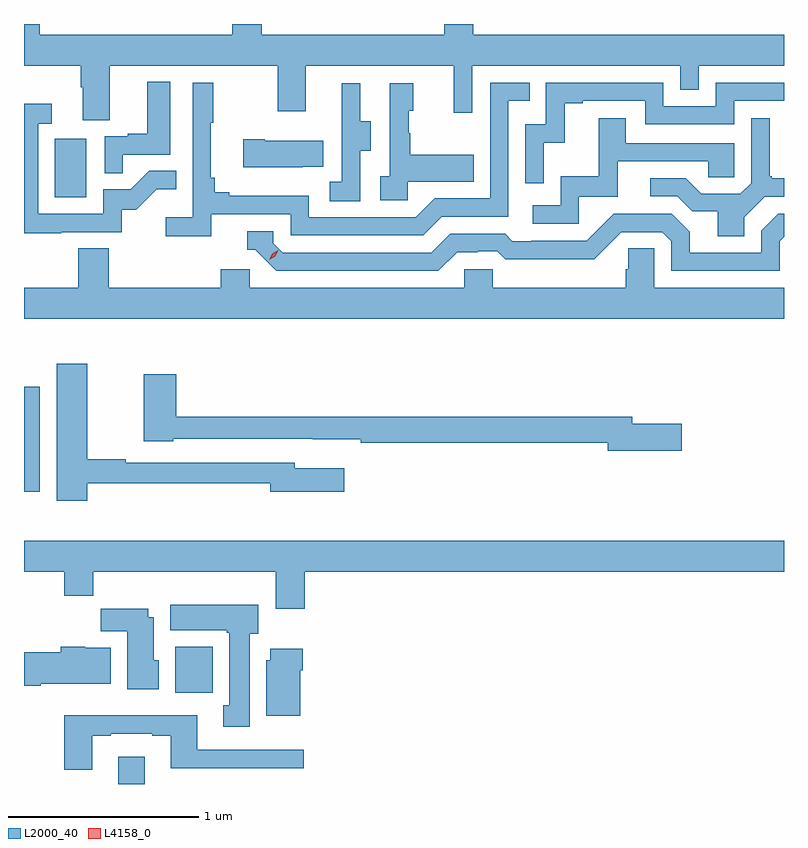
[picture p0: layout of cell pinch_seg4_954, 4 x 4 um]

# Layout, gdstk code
import gdstk
lib = gdstk.Library(unit=1e-6, precision=1e-09)
def R(c, l, rs):  # rectangles x0, y0, x1, y1
    for r in rs: c.add(gdstk.rectangle(r[:2], r[2:], *l))
def P(c, l, *ps):  # polygons
    for p in ps: c.add(gdstk.Polygon(p, *l))
L2000_40 = (2000, 40)
L4158_0 = (4158, 0)

pinch_seg4_954 = lib.new_cell('pinch_seg4_954')
R(pinch_seg4_954, L2000_40, [(837.203,770.396,837.343,770.539), (837.503,770.876,837.7,771.118), (836.707,771.934,836.79,772.486), (836.87,773.484,837.034,773.791)])
P(pinch_seg4_954, L2000_40, [(837.157,774.176),(838.042,774.176),(838.042,773.937),(838.189,773.937),(838.189,774.176),(838.97,774.176),(838.97,773.928),(839.067,773.928),(839.067,774.176),(840.162,774.176),(840.162,774.049),(840.258,774.049),(840.258,774.176),(840.707,774.176),(840.707,774.34),(839.072,774.34),(839.072,774.396),(838.919,774.396),(838.919,774.34),(837.959,774.34),(837.959,774.396),(837.803,774.396),(837.803,774.34),(836.789,774.34),(836.789,774.396),(836.707,774.396),(836.707,774.176),(837.005,774.176),(837.005,774.064),(837.017,774.064),(837.017,773.89),(837.157,773.89)],
  [(837.227,773.709),(837.478,773.709),(837.478,774.091),(837.356,774.091),(837.356,773.818),(837.253,773.818),(837.253,773.805),(837.132,773.805),(837.132,773.611),(837.227,773.611)],
  [(837.692,773.394),(838.11,773.394),(838.11,773.283),(838.807,773.283),(838.906,773.382),(839.256,773.382),(839.256,773.991),(839.369,773.991),(839.369,774.087),(839.16,774.087),(839.16,773.478),(838.869,773.478),(838.77,773.379),(838.206,773.379),(838.206,773.491),(837.787,773.491),(837.787,773.51),(837.71,773.51),(837.71,773.587),(837.691,773.587),(837.691,773.875),(837.703,773.875),(837.703,774.088),(837.594,774.088),(837.594,773.38),(837.453,773.38),(837.453,773.278),(837.692,773.278)],
  [(839.442,773.771),(839.552,773.771),(839.552,773.979),(839.647,773.979),(839.647,773.991),(839.976,773.991),(839.976,773.868),(840.444,773.868),(840.444,773.991),(840.707,773.991),(840.707,774.087),(840.348,774.087),(840.348,773.964),(840.072,773.964),(840.072,774.087),(839.454,774.087),(839.454,773.868),(839.346,773.868),(839.346,773.559),(839.442,773.559)],
  [(838.476,773.728),(838.531,773.728),(838.531,773.883),(838.477,773.883),(838.477,774.085),(838.379,774.085),(838.379,773.871),(838.38,773.871),(838.38,773.567),(838.317,773.567),(838.317,773.464),(838.476,773.464)],
  [(838.728,773.567),(839.075,773.567),(839.075,773.707),(838.741,773.707),(838.741,773.822),(838.731,773.822),(838.731,773.94),(838.756,773.94),(838.756,774.085),(838.632,774.085),(838.632,773.594),(838.581,773.594),(838.581,773.469),(838.728,773.469)],
  [(836.903,773.301),(837.222,773.301),(837.222,773.418),(837.298,773.418),(837.405,773.525),(837.509,773.525),(837.509,773.624),(837.366,773.624),(837.268,773.526),(837.123,773.526),(837.123,773.397),(836.781,773.397),(836.781,773.871),(836.854,773.871),(836.854,773.977),(836.707,773.977),(836.707,773.296),(836.903,773.296)],
  [(839.628,773.487),(839.833,773.487),(839.833,773.673),(840.307,773.673),(840.307,773.589),(840.444,773.589),(840.444,773.769),(839.875,773.769),(839.875,773.899),(839.731,773.899),(839.731,773.596),(839.532,773.596),(839.532,773.442),(839.385,773.442),(839.385,773.346),(839.628,773.346)],
  [(840.499,773.38),(840.606,773.487),(840.707,773.487),(840.707,773.584),(840.643,773.584),(840.643,773.596),(840.631,773.596),(840.631,773.899),(840.534,773.899),(840.534,773.559),(840.477,773.502),(840.271,773.502),(840.19,773.583),(840.003,773.583),(840.003,773.49),(840.144,773.49),(840.224,773.41),(840.359,773.41),(840.359,773.278),(840.499,773.278)],
  [(838.175,773.645),(838.283,773.645),(838.283,773.782),(837.973,773.782),(837.973,773.79),(837.861,773.79),(837.861,773.642),(838.175,773.642)],
  [(838.987,773.196),(839.094,773.196),(839.094,773.199),(839.197,773.199),(839.239,773.157),(839.472,773.157),(839.472,773.159),(839.708,773.159),(839.85,773.301),(840.066,773.301),(840.114,773.253),(840.114,773.097),(840.684,773.097),(840.684,773.253),(840.707,773.276),(840.707,773.397),(840.678,773.397),(840.588,773.307),(840.588,773.193),(840.211,773.193),(840.211,773.303),(840.117,773.397),(839.811,773.397),(839.67,773.256),(839.377,773.256),(839.377,773.253),(839.278,773.253),(839.239,773.292),(838.95,773.292),(838.851,773.193),(838.068,773.193),(838.02,773.241),(838.02,773.304),(837.881,773.304),(837.881,773.208),(837.924,773.208),(838.035,773.097),(838.888,773.097)],
  [(836.992,773.216),(836.992,773.008),(836.707,773.008),(836.707,772.844),(840.707,772.844),(840.707,773.008),(840.024,773.008),(840.024,773.216),(839.887,773.216),(839.887,773.106),(839.873,773.106),(839.873,773.008),(839.175,773.008),(839.175,773.106),(839.025,773.106),(839.025,773.008),(837.894,773.008),(837.894,773.106),(837.743,773.106),(837.743,773.008),(837.152,773.008),(837.152,773.216)],
  [(837.04,771.978),(838.004,771.978),(838.004,771.935),(838.393,771.935),(838.393,772.057),(838.132,772.057),(838.132,772.086),(837.242,772.086),(837.242,772.106),(837.04,772.106),(837.04,772.609),(836.879,772.609),(836.879,771.888),(837.04,771.888)],
  [(840.169,772.292),(839.908,772.292),(839.908,772.328),(837.509,772.328),(837.509,772.552),(837.338,772.552),(837.338,772.199),(837.492,772.199),(837.492,772.212),(838.228,772.212),(838.228,772.211),(838.48,772.211),(838.48,772.192),(839.78,772.192),(839.78,772.15),(840.169,772.15)],
  [(838.184,771.512),(840.707,771.512),(840.707,771.676),(836.707,771.676),(836.707,771.512),(836.92,771.512),(836.92,771.388),(837.071,771.388),(837.071,771.512),(838.031,771.512),(838.031,771.318),(838.184,771.318)],
  [(837.895,771.186),(837.94,771.186),(837.94,771.34),(837.476,771.34),(837.476,771.206),(837.775,771.206),(837.775,771.193),(837.788,771.193),(837.788,770.81),(837.755,770.81),(837.755,770.697),(837.895,770.697)],
  [(837.415,771.048),(837.391,771.048),(837.391,771.274),(837.361,771.274),(837.361,771.319),(837.112,771.319),(837.112,771.2),(837.251,771.2),(837.251,770.894),(837.415,770.894)],
  [(836.794,770.924),(837.163,770.924),(837.163,771.112),(837.03,771.112),(837.03,771.118),(836.9,771.118),(836.9,771.09),(836.707,771.09),(836.707,770.912),(836.794,770.912)],
  [(838.162,770.996),(838.175,770.996),(838.175,771.109),(838.004,771.109),(838.004,771.048),(837.983,771.048),(837.983,770.756),(838.162,770.756)],
  [(837.067,770.649),(837.163,770.649),(837.163,770.661),(837.383,770.661),(837.383,770.649),(837.479,770.649),(837.479,770.48),(838.18,770.48),(838.18,770.577),(837.619,770.577),(837.619,770.758),(836.92,770.758),(836.92,770.472),(837.067,770.472)])
P(pinch_seg4_954, L4158_0, [(837.998,773.154),(837.998,773.154),(838.014,773.187),(838.046,773.206),(838.046,773.206),(838.046,773.205),(838.029,773.173),(837.998,773.154)])

lib.write_gds('pinch_seg4_954.gds')
